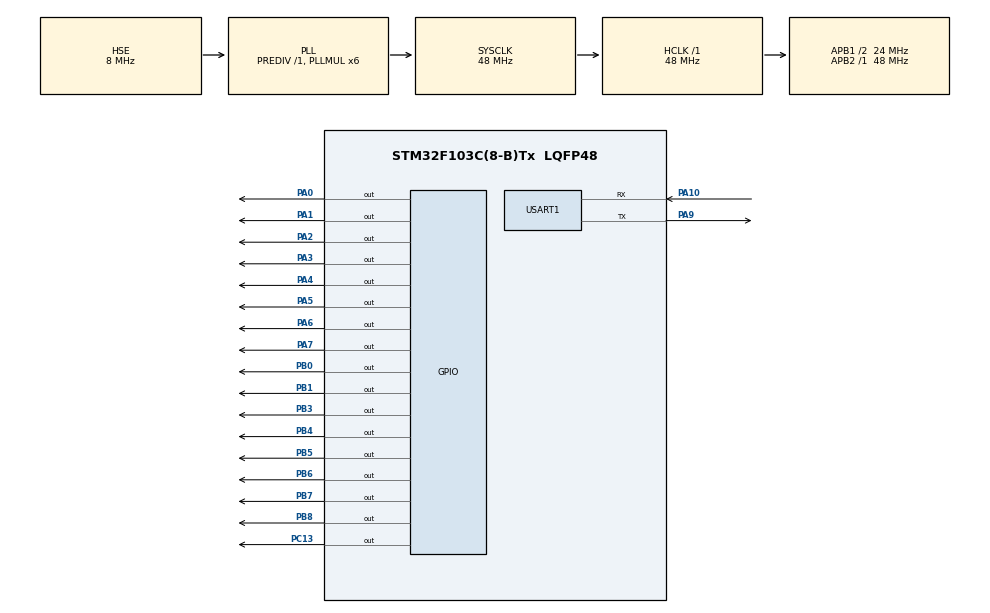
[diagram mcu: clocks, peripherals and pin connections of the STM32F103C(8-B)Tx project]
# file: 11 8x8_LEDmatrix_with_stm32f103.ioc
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Mcu.Family=STM32F1
Mcu.Name=STM32F103C(8-B)Tx
Mcu.Package=LQFP48
NVIC.PriorityGroup=NVIC_PRIORITYGROUP_4
NVIC.TIM1_UP_IRQn=true\:0\:0\:false\:false\:true\:true\:true
NVIC.USART1_IRQn=true\:0\:0\:false\:false\:true\:true\:true
PA0-WKUP.Signal=GPIO_Output
PA1.Signal=GPIO_Output
PA10.Mode=Asynchronous
PA10.Signal=USART1_RX
PA13.Mode=Serial_Wire
PA13.Signal=SYS_JTMS-SWDIO
PA14.Mode=Serial_Wire
PA14.Signal=SYS_JTCK-SWCLK
PA2.Signal=GPIO_Output
PA3.Signal=GPIO_Output
PA4.Signal=GPIO_Output
PA5.Signal=GPIO_Output
PA6.Signal=GPIO_Output
PA7.Signal=GPIO_Output
PA9.Mode=Asynchronous
PA9.Signal=USART1_TX
PB0.Signal=GPIO_Output
PB1.Signal=GPIO_Output
PB3.Signal=GPIO_Output
PB4.Signal=GPIO_Output
PB5.Signal=GPIO_Output
PB6.Signal=GPIO_Output
PB7.Signal=GPIO_Output
PB8.Signal=GPIO_Output
PC13-TAMPER-RTC.Signal=GPIO_Output
PC14-OSC32_IN.Mode=LSE-External-Oscillator
PC14-OSC32_IN.Signal=RCC_OSC32_IN
PC15-OSC32_OUT.Mode=LSE-External-Oscillator
PC15-OSC32_OUT.Signal=RCC_OSC32_OUT
PD0-OSC_IN.Mode=HSE-External-Oscillator
PD0-OSC_IN.Signal=RCC_OSC_IN
PD1-OSC_OUT.Mode=HSE-External-Oscillator
PD1-OSC_OUT.Signal=RCC_OSC_OUT
ProjectManager.HeapSize=0x200
ProjectManager.StackSize=0x400
ProjectManager.TargetToolchain=STM32CubeIDE
RCC.AHBFreq_Value=48000000
RCC.APB1CLKDivider=RCC_HCLK_DIV2
RCC.APB1Freq_Value=24000000
RCC.APB1TimFreq_Value=48000000
RCC.APB2Freq_Value=48000000
RCC.APB2TimFreq_Value=48000000
RCC.HCLKFreq_Value=48000000
RCC.PLLMUL=RCC_PLL_MUL6
RCC.PLLSourceVirtual=RCC_PLLSOURCE_HSE
RCC.SYSCLKFreq_VALUE=48000000
RCC.SYSCLKSource=RCC_SYSCLKSOURCE_PLLCLK
RCC.USBFreq_Value=48000000
TIM1.Period=24000
USART1.VirtualMode=VM_ASYNC
VP_TIM1_VS_ClockSourceINT.Mode=Internal
board=custom

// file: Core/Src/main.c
/* USER CODE BEGIN Header */
/**
  ******************************************************************************
  * @file           : main.c
  * @brief          : Main program body
  ******************************************************************************
  * @attention
  *
  * <h2><center>&copy; Copyright (c) 2020 STMicroelectronics.
  * All rights reserved.</center></h2>
  *
  * This software component is licensed by ST under BSD 3-Clause license,
  * the "License"; You may not use this file except in compliance with the
  * License. You may obtain a copy of the License at:
  *                        opensource.org/licenses/BSD-3-Clause
  *
  ******************************************************************************
  */
/* USER CODE END Header */

#include "main.h"
#include "tim.h"
#include "usart.h"
#include "gpio.h"

/* USER CODE BEGIN Includes */
#include "stdio.h"
/* USER CODE END Includes */

void SystemClock_Config(void);
/* USER CODE BEGIN PFP */

void select_column(int col);
void set_data(int x);
void set_pixel(int x, int y, int colour);
void scroll_text(char *p);
void scroll_letter(char c);

/* USER CODE END PFP */

/* USER CODE BEGIN 0 */

uint8_t row[8] = {0x00, 0x00, 0x00, 0x00, 0x00, 0x00, 0x00, 0x00};

uint8_t letter[][5] = {  0x00, 0x00, 0x00, 0x00, 0x00,// 0x20 (Space)
					0x00, 0x00, 0x9E, 0x00, 0x00,// 0x21 !
					0x00, 0x0E, 0x00, 0x0E, 0x00,// 0x22 "
					0x28, 0xFE, 0x28, 0xFE, 0x28,// 0x23 #
					0x48, 0x54, 0xFE, 0x54, 0x24,// 0x24 $
					0x46, 0x26, 0x10, 0xC8, 0xC4,// 0x25 %
					0x6C, 0x92, 0xAA, 0x44, 0xA0,// 0x26 &
					0x00, 0x0A, 0x06, 0x00, 0x00,// 0x27 '
					0x00, 0x38, 0x44, 0x82, 0x00,// 0x28 (
					0x00, 0x82, 0x44, 0x38, 0x00,// 0x29 )
					0x10, 0x54, 0x38, 0x54, 0x10,// 0x2A *
					0x10, 0x10, 0x7C, 0x10, 0x10,// 0x2B +
					0x00, 0xA0, 0x60, 0x00, 0x00,// 0x2C ,
					0x10, 0x10, 0x10, 0x10, 0x10,// 0x2D -
					0x00, 0x60, 0x60, 0x00, 0x00,// 0x2E .
					0x40, 0x20, 0x10, 0x08, 0x04,// 0x2F /
					0x7C, 0xA2, 0x92, 0x8A, 0x7C,// 0x30 0
					0x00, 0x84, 0xFE, 0x80, 0x00,// 0x31 1
					0x84, 0xC2, 0xA2, 0x92, 0x8C,// 0x32 2
					0x42, 0x82, 0x8A, 0x96, 0x62,// 0x33 3
					0x30, 0x28, 0x24, 0xFE, 0x20,// 0x34 4
					0x4E, 0x8A, 0x8A, 0x8A, 0x72,// 0x35 5
					0x78, 0x94, 0x92, 0x92, 0x60,// 0x36 6
					0x02, 0xE2, 0x12, 0x0A, 0x06,// 0x37 7
					0x6C, 0x92, 0x92, 0x92, 0x6C,// 0x38 8
					0x0C, 0x92, 0x92, 0x52, 0x3C,// 0x39 9
					0x00, 0x6C, 0x6C, 0x00, 0x00,// 0x3A :
					0x00, 0xAC, 0x6C, 0x00, 0x00,// 0x3B ;
					0x00, 0x10, 0x28, 0x44, 0x82,// 0x3C <
					0x28, 0x28, 0x28, 0x28, 0x28,// 0x3D =
					0x82, 0x44, 0x28, 0x10, 0x00,// 0x3E >
					0x04, 0x02, 0xA2, 0x12, 0x0C,// 0x3F ?
					0x64, 0x92, 0xF2, 0x82, 0x7C,// 0x40 @
					0xFC, 0x22, 0x22, 0x22, 0xFC,// 0x41 A
					0xFE, 0x92, 0x92, 0x92, 0x6C,// 0x42 B
					0x7C, 0x82, 0x82, 0x82, 0x44,// 0x43 C
					0xFE, 0x82, 0x82, 0x44, 0x38,// 0x44 D
					0xFE, 0x92, 0x92, 0x92, 0x82,// 0x45 E
					0xFE, 0x12, 0x12, 0x02, 0x02,// 0x46 F
					0x7C, 0x82, 0x82, 0xA2, 0x64,// 0x47 G
					0xFE, 0x10, 0x10, 0x10, 0xFE,// 0x48 H
					0x00, 0x82, 0xFE, 0x82, 0x00,// 0x49 I
					0x40, 0x80, 0x82, 0x7E, 0x02,// 0x4A J
					0xFE, 0x10, 0x28, 0x44, 0x82,// 0x4B K
					0xFE, 0x80, 0x80, 0x80, 0x80,// 0x4C L
					0xFE, 0x04, 0x08, 0x04, 0xFE,// 0x4D M
					0xFE, 0x08, 0x10, 0x20, 0xFE,// 0x4E N
					0x7C, 0x82, 0x82, 0x82, 0x7C,// 0x4F O
					0xFE, 0x12, 0x12, 0x12, 0x0C,// 0x50 P
					0x7C, 0x82, 0xA2, 0x42, 0xBC,// 0x51 Q
					0xFE, 0x12, 0x32, 0x52, 0x8C,// 0x52 R
					0x8C, 0x92, 0x92, 0x92, 0x62,// 0x53 S
					0x02, 0x02, 0xFE, 0x02, 0x02,// 0x54 T
					0x7E, 0x80, 0x80, 0x80, 0x7E,// 0x55 U
					0x3E, 0x40, 0x80, 0x40, 0x3E,// 0x56 V
					0xFE, 0x40, 0x30, 0x40, 0xFE,// 0x57 W
					0xC6, 0x28, 0x10, 0x28, 0xC6,// 0x58 X
					0x06, 0x08, 0xF0, 0x08, 0x06,// 0x59 Y
					0xC2, 0xA2, 0x92, 0x8A, 0x86,// 0x5A Z
					0x00, 0x00, 0xFE, 0x82, 0x82,// 0x5B [
					0x04, 0x08, 0x10, 0x20, 0x40,// 0x5C "\"
					0x82, 0x82, 0xFE, 0x00, 0x00,// 0x5D ]
					0x08, 0x04, 0x02, 0x04, 0x08,// 0x5E ^
					0x80, 0x80, 0x80, 0x80, 0x80,// 0x5F _
					0x00, 0x02, 0x04, 0x08, 0x00,// 0x60 `
					0x40, 0xA8, 0xA8, 0xA8, 0xF0,// 0x61 a
					0xFE, 0x90, 0x88, 0x88, 0x70,// 0x62 b
					0x70, 0x88, 0x88, 0x88, 0x40,// 0x63 c
					0x70, 0x88, 0x88, 0x90, 0xFE,// 0x64 d
					0x70, 0xA8, 0xA8, 0xA8, 0x30,// 0x65 e
					0x10, 0xFC, 0x12, 0x02, 0x04,// 0x66 f
					0x10, 0x28, 0xA8, 0xA8, 0x78,// 0x67 g
					0xFE, 0x10, 0x08, 0x08, 0xF0,// 0x68 h
					0x00, 0x88, 0xFA, 0x80, 0x00,// 0x69 i
					0x40, 0x80, 0x88, 0x7A, 0x00,// 0x6A j
					0x00, 0xFE, 0x20, 0x50, 0x88,// 0x6B k
					0x00, 0x82, 0xFE, 0x80, 0x00,// 0x6C l
					0xF8, 0x08, 0x30, 0x08, 0xF0,// 0x6D m
					0xF8, 0x10, 0x08, 0x08, 0xF0,// 0x6E n
					0x70, 0x88, 0x88, 0x88, 0x70,// 0x6F o
					0xF8, 0x28, 0x28, 0x28, 0x10,// 0x70 p
					0x10, 0x28, 0x28, 0x30, 0xF8,// 0x71 q
					0xF8, 0x10, 0x08, 0x08, 0x10,// 0x72 r
					0x90, 0xA8, 0xA8, 0xA8, 0x40,// 0x73 s
					0x08, 0x7E, 0x88, 0x80, 0x40,// 0x74 t
					0x78, 0x80, 0x80, 0x40, 0xF8,// 0x75 u
					0x38, 0x40, 0x80, 0x40, 0x38,// 0x76 v
					0x78, 0x80, 0x60, 0x80, 0x78,// 0x77 w
					0x88, 0x50, 0x20, 0x50, 0x88,// 0x78 x
					0x18, 0xA0, 0xA0, 0xA0, 0x78,// 0x79 y
					0x88, 0xC8, 0xA8, 0x98, 0x88,// 0x7A z
					0x00, 0x10, 0x6C, 0x82, 0x00,// 0x7B {
					0x00, 0x00, 0xFE, 0x00, 0x00,// 0x7C |
					0x00, 0x82, 0x6C, 0x10, 0x00,// 0x7D }
					0x20, 0x10, 0x10, 0x20, 0x10,// 0x7E
					0xF0, 0x88, 0x84, 0x88, 0xF0,// 0x7F 
					0x28, 0x7C, 0xAA, 0x82, 0x44,// 0x80 €
					0xF0, 0x29, 0x27, 0x21, 0xFF,// 0x81 �?
					0x00, 0xA0, 0x60, 0x00, 0x00,// 0x82 ‚
					0x40, 0x90, 0x7C, 0x12, 0x04,// 0x83 ƒ
					0xC0, 0xA0, 0x00, 0xC0, 0xA0,// 0x84 „
					0x80, 0x00, 0x80, 0x00, 0x80,// 0x85 …
					0x00, 0x04, 0xFE, 0x04, 0x00,// 0x86 †
					0x00, 0x44, 0xFE, 0x44, 0x00,// 0x87 ‡
					0x00, 0x04, 0x02, 0x04, 0x00,// 0x88 ˆ
					0xC3, 0xD3, 0x08, 0xC4, 0xC2,// 0x89 ‰
					0x4C, 0x93, 0x92, 0x93, 0x64,// 0x8A Š
					0x00, 0x10, 0x28, 0x00, 0x00,// 0x8B ‹
					0x7C, 0x82, 0x82, 0x7C, 0x92,// 0x8C Œ
					0x02, 0xFE, 0x90, 0x90, 0x60,// 0x8D �?
					0xC2, 0xA3, 0x92, 0x8B, 0x86,// 0x8E Ž
					0x44, 0x92, 0x8A, 0x92, 0x7C,// 0x8F �?
					0x70, 0x88, 0x90, 0x60, 0x98,// 0x90 �?
					0x00, 0x02, 0x04, 0x08, 0x00,// 0x91 ‘
					0x00, 0x08, 0x04, 0x02, 0x00,// 0x92 ’
					0x02, 0x04, 0x0A, 0x04, 0x08,// 0x93 “
					0x08, 0x04, 0x0A, 0x04, 0x02,// 0x94 �?
					0x00, 0x38, 0x38, 0x38, 0x00,// 0x95 •
					0x00, 0x10, 0x10, 0x10, 0x10,// 0x96 –
					0x10, 0x10, 0x10, 0x10, 0x10,// 0x97 —
					0x02, 0x01, 0x02, 0x04, 0x02,// 0x98 ˜
					0xF1, 0x5B, 0x55, 0x51, 0x51,// 0x99 ™
					0x90, 0xA9, 0xAA, 0xA9, 0x40,// 0x9A š
					0x00, 0x88, 0x50, 0x20, 0x00,// 0x9B ›
					0x70, 0x88, 0x70, 0xA8, 0xB0,// 0x9C œ°
					0x38, 0x7C, 0xF8, 0x7C, 0x38,// 0x9D �?
					0x88, 0xC9, 0xAA, 0x99, 0x88,// 0x9E ž
					0x1C, 0x21, 0xC0, 0x21, 0x1C,// 0x9F Ÿ
					0x00, 0x00, 0x00, 0x00, 0x00,// 0xA0
					0x00, 0x00, 0xF2, 0x00, 0x00,// 0xA1 ¡
					0x38, 0x44, 0xFE, 0x44, 0x20,// 0xA2 ¢
					0x90, 0x7C, 0x92, 0x82, 0x40,// 0xA3 £
					0x44, 0x38, 0x28, 0x38, 0x44,// 0xA4 ¤
					0x2A, 0x2C, 0xF8, 0x2C, 0x2A,// 0xA5 ¥
					0x00, 0x00, 0xEE, 0x00, 0x00,// 0xA6 ¦
					0x40, 0x94, 0xAA, 0x52, 0x04,// 0xA7 §
					0x00, 0x02, 0x00, 0x02, 0x00,// 0xA8 ¨
					0xFE, 0x82, 0xBA, 0x92, 0xFE,// 0xA9 ©
					0x90, 0xAA, 0xAA, 0xAA, 0xBC,// 0xAA ª
					0x20, 0x50, 0xA8, 0x50, 0x88,// 0xAB «
					0x20, 0x20, 0x20, 0x20, 0xE0,// 0xAC ¬
					0x20, 0x20, 0x20, 0x20, 0x20,// 0xAD ­
					0xFE, 0x82, 0xCA, 0xA2, 0xFE,// 0xAE ®
					0x02, 0x02, 0x02, 0x02, 0x02,// 0xAF ¯
					0x0E, 0x11, 0x11, 0x0E, 0x00,// 0xB0 °
					0x88, 0x88, 0xBE, 0x88, 0x88,// 0xB1 ±
					0x12, 0x19, 0x15, 0x12, 0x00,// 0xB2 ²
					0x11, 0x15, 0x15, 0x0A, 0x00,// 0xB3 ³
					0x00, 0x08, 0x04, 0x02, 0x00,// 0xB4 ´
					0xFE, 0x20, 0x20, 0x10, 0x3E,// 0xB5 µ
					0x0C, 0x12, 0x12, 0xFE, 0xFE,// 0xB6 ¶
					0x00, 0x30, 0x30, 0x00, 0x00,// 0xB7 ·
					0x00, 0x80, 0xB0, 0x40, 0x00,// 0xB8 ¸
					0x00, 0x02, 0x0F, 0x00, 0x00,// 0xB9 ¹
					0x00, 0x02, 0x05, 0x02, 0x00,// 0xBA º
					0x44, 0x28, 0x54, 0x28, 0x10,// 0xBB »
					0x22, 0x1F, 0x68, 0x54, 0xFA,// 0xBC ¼
					0x02, 0x1F, 0x90, 0xC8, 0xB0,// 0xBD ½
					0x15, 0x1F, 0x60, 0x50, 0xF8,// 0xBE ¾
					0x60, 0x90, 0x8A, 0x80, 0x40,// 0xBF ¿
					0xF0, 0x29, 0x26, 0x28, 0xF0,// 0xC0 À
					0xF0, 0x28, 0x26, 0x29, 0xF0,// 0xC1 �?
					0xF0, 0x2A, 0x29, 0x2A, 0xF0,// 0xC2 Â
					0xF2, 0x29, 0x29, 0x2A, 0xF1,// 0xC3 Ã
					0xF0, 0x29, 0x24, 0x29, 0xF0,// 0xC4 Ä
					0xF0, 0x2A, 0x2D, 0x2A, 0xF0,// 0xC5 Å
					0xF8, 0x24, 0xFE, 0x92, 0x92,// 0xC6 Æ
					0x1E, 0x21, 0xA1, 0xE1, 0x12,// 0xC7 Ç
					0xF8, 0xA9, 0xAA, 0xA8, 0x88,// 0xC8 È
					0xF8, 0xA8, 0xAA, 0xA9, 0x88,// 0xC9 É
					0xF8, 0xAA, 0xA9, 0xAA, 0x88,// 0xCA Ê
					0xF8, 0xAA, 0xA8, 0xAA, 0x88,// 0xCB Ë
					0x00, 0x89, 0xFA, 0x88, 0x00,// 0xCC Ì
					0x00, 0x88, 0xFA, 0x89, 0x00,// 0xCD �?
					0x00, 0x8A, 0xF9, 0x8A, 0x00,// 0xCE Î
					0x00, 0x8A, 0xF8, 0x8A, 0x00,// 0xCF �?
					0x10, 0xFE, 0x92, 0x82, 0x7C,// 0xD0 �?
					0xFA, 0x11, 0x21, 0x42, 0xF9,// 0xD1 Ñ
					0x78, 0x85, 0x86, 0x84, 0x78,// 0xD2 Ò
					0x78, 0x84, 0x86, 0x85, 0x78,// 0xD3 Ó
					0x70, 0x8A, 0x89, 0x8A, 0x70,// 0xD4 Ô
					0x72, 0x89, 0x89, 0x8A, 0x71,// 0xD5 Õ
					0x78, 0x85, 0x84, 0x85, 0x78,// 0xD6 Ö
					0x44, 0x28, 0x10, 0x28, 0x44,// 0xD7 ×
					0x10, 0xAA, 0xFE, 0xAA, 0x10,// 0xD8 Ø
					0x7C, 0x81, 0x82, 0x80, 0x7C,// 0xD9 Ù
					0x7C, 0x80, 0x82, 0x81, 0x7C,// 0xDA Ú
					0x78, 0x82, 0x81, 0x82, 0x78,// 0xDB Û
					0x7C, 0x81, 0x80, 0x81, 0x7C,// 0xDC Ü
					0x04, 0x08, 0xF2, 0x09, 0x04,// 0xDD �?
					0x81, 0xFF, 0x24, 0x24, 0x18,// 0xDE Þ
					0x80, 0x7C, 0x92, 0x92, 0x6C,// 0xDF ß
					0x40, 0xA9, 0xAA, 0xA8, 0xF0,// 0xE0 à
					0x40, 0xA8, 0xAA, 0xA9, 0xF0,// 0xE1 á
					0x40, 0xAA, 0xA9, 0xAA, 0xF0,// 0xE2 â
					0x42, 0xA9, 0xA9, 0xAA, 0xF1,// 0xE3 ã
					0x40, 0xAA, 0xA8, 0xAA, 0xF0,// 0xE4 ä
					0x40, 0xAA, 0xAD, 0xAA, 0xF0,// 0xE5 å
					0x64, 0x94, 0x78, 0x94, 0x58,// 0xE6 æ
					0x18, 0x24, 0xA4, 0xE4, 0x10,// 0xE7 ç
					0x70, 0xA9, 0xAA, 0xA8, 0x30,// 0xE8 è
					0x70, 0xA8, 0xAA, 0xA9, 0x30,// 0xE9 é
					0x70, 0xAA, 0xA9, 0xAA, 0x30,// 0xEA ê
					0x70, 0xAA, 0xA8, 0xAA, 0x30,// 0xEB ë
					0x00, 0x91, 0xFA, 0x80, 0x00,// 0xEC ì
					0x00, 0x90, 0xFA, 0x81, 0x00,// 0xED í
					0x00, 0x92, 0xF9, 0x82, 0x00,// 0xEE î
					0x00, 0x92, 0xF8, 0x82, 0x00,// 0xEF ï
					0x4A, 0xA4, 0xAA, 0xB0, 0x60,// 0xF0 ð
					0xFA, 0x11, 0x09, 0x0A, 0xF1,// 0xF1 ñ
					0x70, 0x89, 0x8A, 0x88, 0x70,// 0xF2 ò
					0x70, 0x88, 0x8A, 0x89, 0x70,// 0xF3 ó
					0x60, 0x94, 0x92, 0x94, 0x60,// 0xF4 ô
					0x64, 0x92, 0x92, 0x94, 0x62,// 0xF5 õ
					0x70, 0x8A, 0x88, 0x8A, 0x70,// 0xF6 ö
					0x10, 0x10, 0x54, 0x10, 0x10,// 0xF7 ÷
					0x10, 0xA8, 0x7C, 0x2A, 0x10,// 0xF8 ø
					0x78, 0x81, 0x82, 0x40, 0xF8,// 0xF9 ù
					0x78, 0x80, 0x82, 0x41, 0xF8,// 0xFA ú
					0x78, 0x82, 0x81, 0x42, 0xF8,// 0xFB û
					0x78, 0x82, 0x80, 0x42, 0xF8,// 0xFC ü
					0x18, 0xA0, 0xA4, 0xA2, 0x78,// 0xFD v
					0x00, 0x82, 0xFE, 0xA8, 0x10,// 0xFE þ
					0x18, 0xA2, 0xA0, 0xA2, 0x78 // 0xFF ÿ
				};

void select_column(int col)
{

	GPIOB->ODR |= ((1 << 8) | (1 << 7) | (1 << 6) | (1 << 5) | (1 << 4) | (1 << 3) | (1 << 1) | (1 << 0));

	col = 7 - col;

	if(col == 0)
	{
		GPIOB->ODR &= ~(1 << 0);
	}

	if(col == 1)
	{
		GPIOB->ODR &= ~(1 << 1);
	}

	if(col == 2)
	{
		GPIOB->ODR &= ~(1 << 3);
	}

	if(col == 3)
	{
		GPIOB->ODR &= ~(1 << 4);
	}

	if(col == 4)
	{
		GPIOB->ODR &= ~(1 << 5);
	}

	if(col == 5)
	{
		GPIOB->ODR &= ~(1 << 6);
	}

	if(col == 6)
	{
		GPIOB->ODR &= ~(1 << 7);
	}

	if(col == 7)
	{
		GPIOB->ODR &= ~(1 << 8);
	}

}

void set_data(int x)
{
	GPIOA->ODR = row[x];
}

void HAL_TIM_PeriodElapsedCallback(TIM_HandleTypeDef *tim)
{
	static uint8_t i = 0;
	set_data(i);
	select_column(i);
	i++;
	i &= 7;
}

void set_pixel(int x, int y, int colour)
{
	if(colour)
	{
		row[x] |= (1 << y);
	}
	else
	{
		row[x] &= ~(1 << y);
	}
}

int __io_putchar(int ch)
{
   // Code to write character 'ch' on the UART
	uint8_t val = (uint8_t)ch;
	HAL_UART_Transmit(&huart1, &val, 1, 1000);
	return 0;
}

void scroll_text(char *p)
{
	while(*p)
	{
		scroll_letter(*p);
		p++;
	}
}

void scroll_letter(char c)
{
	for(int i = 0 ; i < 6; i++)
	{
		for(int j = 0; j < 7 ; j++)
		{
			row[j] = row[j+1];
		}

		if(i == 5)
		{
			row[7] = 0x00;
		}
		else
		{
			row[7] = letter[c - ' '][i];
		}
		HAL_Delay(100);
	}
}

/* USER CODE END 0 */

int main(void)
{

  /* MCU Configuration--------------------------------------------------------*/

  /* Reset of all peripherals, Initializes the Flash interface and the Systick. */
  HAL_Init();

  /* Configure the system clock */
  SystemClock_Config();

  /* Initialize all configured peripherals */
  MX_GPIO_Init();
  MX_USART1_UART_Init();
  MX_TIM1_Init();
  /* USER CODE BEGIN 2 */

  HAL_TIM_Base_Start_IT(&htim1);

  GPIOB->ODR |= ((1<<0)|(1<<1)|(1<<3)|(1<<4)|(1<<5)|(1<<6)|(1<<7)|(1<<8));

  ///GPIOA->ODR |= ((1<<0)|(1<<1)|(1<<2)|(1<<3)|(1<<4)|(1<<5)|(1<<6)|(1<<7));

  /* USER CODE END 2 */

  /* Infinite loop */
  /* USER CODE BEGIN WHILE */

  while (1)
  {

	  scroll_text("Hello");
	/* USER CODE END WHILE */

  }
}

void SystemClock_Config(void)
{
  RCC_OscInitTypeDef RCC_OscInitStruct = {0};
  RCC_ClkInitTypeDef RCC_ClkInitStruct = {0};

  /** Initializes the CPU, AHB and APB busses clocks
  */
  RCC_OscInitStruct.OscillatorType = RCC_OSCILLATORTYPE_HSE;
  RCC_OscInitStruct.HSEState = RCC_HSE_ON;
  RCC_OscInitStruct.HSEPredivValue = RCC_HSE_PREDIV_DIV1;
  RCC_OscInitStruct.HSIState = RCC_HSI_ON;
  RCC_OscInitStruct.PLL.PLLState = RCC_PLL_ON;
  RCC_OscInitStruct.PLL.PLLSource = RCC_PLLSOURCE_HSE;
  RCC_OscInitStruct.PLL.PLLMUL = RCC_PLL_MUL6;
  if (HAL_RCC_OscConfig(&RCC_OscInitStruct) != HAL_OK)
  {
    Error_Handler();
  }
  /** Initializes the CPU, AHB and APB busses clocks
  */
  RCC_ClkInitStruct.ClockType = RCC_CLOCKTYPE_HCLK|RCC_CLOCKTYPE_SYSCLK
                              |RCC_CLOCKTYPE_PCLK1|RCC_CLOCKTYPE_PCLK2;
  RCC_ClkInitStruct.SYSCLKSource = RCC_SYSCLKSOURCE_PLLCLK;
  RCC_ClkInitStruct.AHBCLKDivider = RCC_SYSCLK_DIV1;
  RCC_ClkInitStruct.APB1CLKDivider = RCC_HCLK_DIV2;
  RCC_ClkInitStruct.APB2CLKDivider = RCC_HCLK_DIV1;

  if (HAL_RCC_ClockConfig(&RCC_ClkInitStruct, FLASH_LATENCY_1) != HAL_OK)
  {
    Error_Handler();
  }
}

void Error_Handler(void)
{
}

/************************ (C) COPYRIGHT STMicroelectronics *****END OF FILE****/
